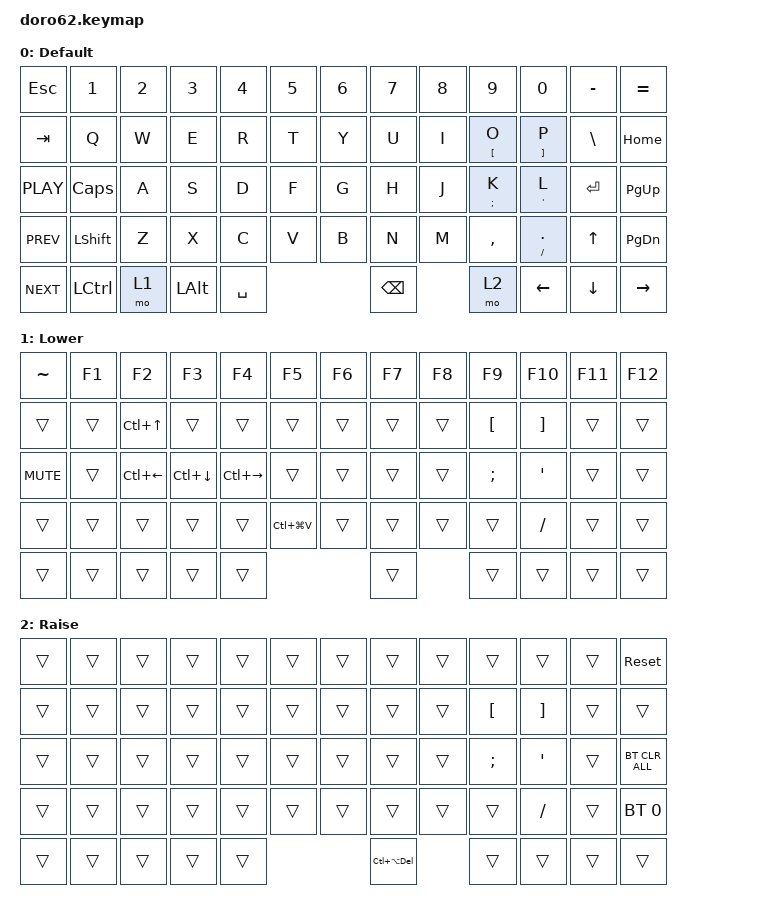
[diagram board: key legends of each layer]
#include <behaviors.dtsi>
#include <dt-bindings/zmk/bt.h>
#include <dt-bindings/zmk/keys.h>

&mt {
    flavor = "tap-preferred";
    require-prior-idle-ms = <5>;
    quick-tap-ms = <5>;
};

/ {
    keymap {
        compatible = "zmk,keymap";

        Default {
            bindings = <
&kp ESC     &kp N1     &kp N2  &kp N3    &kp N4     &kp N5  &kp N6  &kp N7    &kp N8  &kp N9              &kp N0               &kp MINUS      &kp EQUAL
&kp TAB     &kp Q      &kp W   &kp E     &kp R      &kp T   &kp Y   &kp U     &kp I   &mt LEFT_BRACKET O  &mt RIGHT_BRACKET P  &kp BACKSLASH  &kp HOME
&kp C_PLAY  &kp CAPS   &kp A   &kp S     &kp D      &kp F   &kp G   &kp H     &kp J   &mt SEMICOLON K     &mt APOSTROPHE L     &kp ENTER      &kp PAGE_UP
&kp C_PREV  &kp LSHFT  &kp Z   &kp X     &kp C      &kp V   &kp B   &kp N     &kp M   &kp COMMA           &mt SLASH PERIOD     &kp UP         &kp PAGE_DOWN
&kp C_NEXT  &kp LCTRL  &mo 1   &kp LALT  &kp SPACE                  &kp BSPC          &mo 2               &kp LEFT             &kp DOWN       &kp RIGHT
            >;
        };

        Lower {
            bindings = <
&kp TILDE   &kp F1  &kp F2        &kp F3        &kp F4         &kp F5         &kp F6  &kp F7  &kp F8  &kp F9            &kp F10            &kp F11  &kp F12
&trans      &trans  &kp LC(UP)    &trans        &trans         &trans         &trans  &trans  &trans  &kp LEFT_BRACKET  &kp RIGHT_BRACKET  &trans   &trans
&kp C_MUTE  &trans  &kp LC(LEFT)  &kp LC(DOWN)  &kp LC(RIGHT)  &trans         &trans  &trans  &trans  &kp SEMICOLON     &kp APOSTROPHE     &trans   &trans
&trans      &trans  &trans        &trans        &trans         &kp LC(LG(V))  &trans  &trans  &trans  &trans            &kp SLASH          &trans   &trans
&trans      &trans  &trans        &trans        &trans                                &trans          &trans            &trans             &trans   &trans
            >;
        };

        Raise {
            bindings = <
&trans  &trans  &trans  &trans  &trans  &trans  &trans  &trans              &trans  &trans            &trans             &trans  &sys_reset
&trans  &trans  &trans  &trans  &trans  &trans  &trans  &trans              &trans  &kp LEFT_BRACKET  &kp RIGHT_BRACKET  &trans  &trans
&trans  &trans  &trans  &trans  &trans  &trans  &trans  &trans              &trans  &kp SEMICOLON     &kp SINGLE_QUOTE   &trans  &bt BT_CLR_ALL
&trans  &trans  &trans  &trans  &trans  &trans  &trans  &trans              &trans  &trans            &kp SLASH          &trans  &bt BT_SEL 0
&trans  &trans  &trans  &trans  &trans                  &kp LC(LA(DELETE))          &trans            &trans             &trans  &trans
            >;
        };
    };
};
